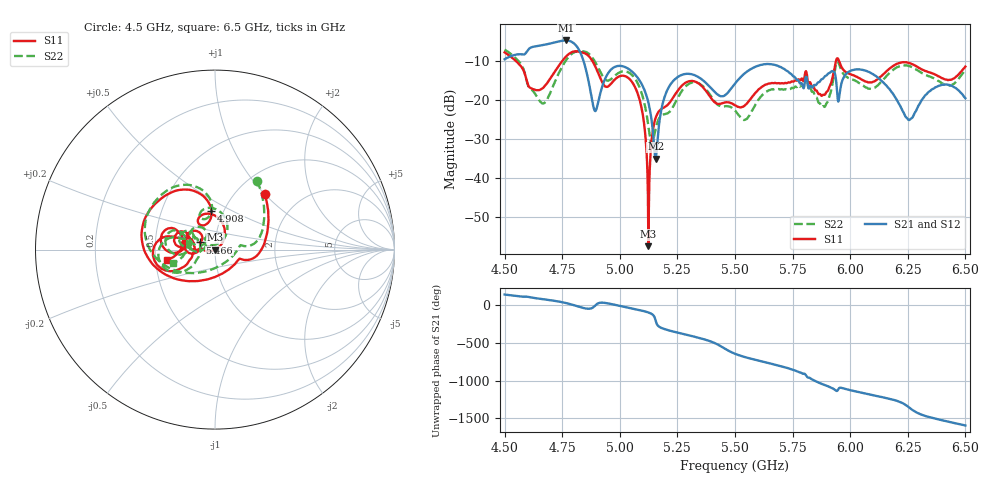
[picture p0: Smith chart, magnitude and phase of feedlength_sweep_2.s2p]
! TOUCHSTONE file generated by CST MICROWAVE STUDIO
! Date and time: Fri Nov 29 14:48:25 2024
! Project name: dual_circularly_polarized_waveguide_antenna.cst
! Parameters = {airCoaxOuterDiameter=3; chamferAngle=45; chamferWidth=24; connectorLength=10; drillingHoleDiameter=4.1; feedLength=45; flareDiameter=130; flareLength=70; gratingDistance=0; gratingGap=1.90274; outletLength=60; polarizerLength=134; probe1Diameter=1.3; probe1Distance=14.068; probe1Leng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
! Header version: 2018
! Port assignment regex: !\s*Touchstone port\s*([0-9]+)\s*=\s*(CST MWS port|CST DS port)\s*([0-9]+|Zmin|Zmax)\s*\(\"(.*)\"\)(\s*mode\s*([0-9]+))?.*
! Touchstone port assignment:
! Touchstone port 1 = CST MWS port 1 ("Input1")
! Touchstone port 2 = CST MWS port 2 ("Input2")
# GHz S MA R 50
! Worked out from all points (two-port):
!   1001 points, 4.5 GHz to 6.5 GHz, reference 50 ohm
!   highest |S21| = -4.61 dB at 4.768 GHz (marker M1); lowest = -35.0 dB at 5.156 GHz (marker M2)
!   |S21| within 3 dB of the highest: 4.595 GHz to 4.828 GHz (232.8 MHz wide, 4.94 % of centre)
!   lowest |S11| = -57.6 dB at 5.124 GHz (marker M3), VSWR 1.00, Z = 50.1 - j0.0224 ohm
!   |S11| at or under -10 dB: 4.551 GHz to 4.749 GHz (197.9 MHz wide, 4.26 % of centre); 4.882 GHz to 5.938 GHz (1.056 GHz wide, 19.5 % of centre); 5.952 GHz to end of sweep
!   |S22| runs from -31.5 to -7.0 dB; largest |S21 - S12| = 1.3e-05
!   S11 on the Smith chart (normalised r, x): 4.5 GHz: 1.34, +0.99; 4.908 GHz: 0.88, +0.40; 5.466 GHz: 0.84, +0.07; 6.5 GHz: 0.58, -0.07
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4.5  0.4129 48.0  0.3372 143.3  0.3372 143.3  0.4484 58.8
4.666  0.1432 -79.9  0.5138 81.6  0.5138 81.6  0.09045 -54.3
4.768  0.3689 -170.7  0.5884 29.1  0.5884 29.1  0.3315 -171.9
4.834  0.4143 137.6  0.3778 -28.9  0.3778 -28.9  0.4276 136.8
4.908  0.2173 95.2  0.09916 29.6  0.09916 29.6  0.2565 94.2
4.97  0.1742 122.1  0.2597 12.7  0.2597 12.7  0.1963 114.4
5.066  0.1474 72.3  0.2145 -49.3  0.2145 -49.3  0.1895 73.8
5.1  0.06465 45.8  0.1506 -73.0  0.1506 -73.0  0.1098 54.6
5.124  0.001317 -9.8  0.0934 -94.9  0.0934 -94.9  0.04645 56.2
5.156  0.05966 -176.4  0.01768 150.8  0.01769 150.8  0.04386 139.7
5.168  0.07097 177.7  0.04218 82.1  0.04218 82.1  0.05628 143.3
5.258  0.1409 177.2  0.2045 -8.0  0.2045 -8.0  0.1162 166.5
5.466  0.09387 155.0  0.1222 125.9  0.1222 125.9  0.08356 134.1
5.5  0.08627 159.1  0.1639 76.1  0.1639 76.1  0.07361 135.4
5.686  0.1661 174.9  0.2773 -79.0  0.2773 -79.0  0.1392 170.4
5.834  0.1505 156.9  0.146 95.9  0.146 95.9  0.1282 149.5
5.892  0.1201 -171.3  0.2044 16.5  0.2044 16.5  0.0841 -171.1
5.946  0.3453 -179.2  0.1028 -49.2  0.1028 -49.2  0.3161 -177.0
6.168  0.2513 -176.5  0.1416 -160.3  0.1416 -160.3  0.2206 -173.1
6.256  0.3018 160.1  0.05548 81.6  0.05548 81.6  0.2756 161.1
6.388  0.2006 157.5  0.1542 -80.4  0.1542 -80.4  0.1738 158.0
6.5  0.2714 -167.9  0.106 -157.3  0.106 -157.3  0.247 -161.9
